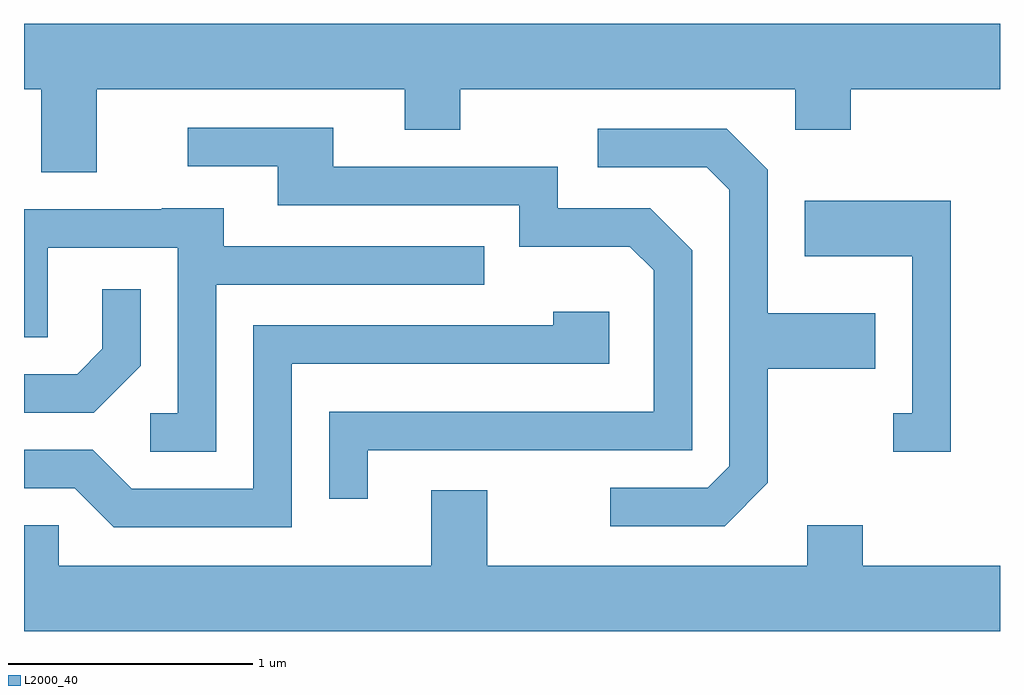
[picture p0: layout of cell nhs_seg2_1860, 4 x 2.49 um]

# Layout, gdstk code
import gdstk
lib = gdstk.Library(unit=1e-6, precision=1e-09)
def P(c, l, *ps):  # polygons
    for p in ps: c.add(gdstk.Polygon(p, *l))
L2000_40 = (2000, 40)

nhs_seg2_1860 = lib.new_cell('nhs_seg2_1860')
P(nhs_seg2_1860, L2000_40, [(239.909,1028.336),(241.171,1028.336),(241.171,1028.171),(241.399,1028.171),(241.399,1028.336),(242.771,1028.336),(242.771,1028.171),(242.999,1028.171),(242.999,1028.336),(243.611,1028.336),(243.611,1028.604),(239.611,1028.604),(239.611,1028.336),(239.681,1028.336),(239.681,1027.996),(239.909,1027.996)],
  [(241.019,1026.856),(242.349,1026.856),(242.349,1027.677),(242.177,1027.849),(241.799,1027.849),(241.799,1028.019),(240.879,1028.019),(240.879,1028.179),(240.283,1028.179),(240.283,1028.021),(240.651,1028.021),(240.651,1027.861),(241.641,1027.861),(241.641,1027.691),(242.094,1027.691),(242.191,1027.594),(242.191,1027.014),(240.861,1027.014),(240.861,1026.658),(241.019,1026.658)],
  [(242.659,1026.724),(242.659,1027.191),(243.099,1027.191),(243.099,1027.419),(242.659,1027.419),(242.659,1028.007),(242.492,1028.174),(241.963,1028.174),(241.963,1028.016),(242.409,1028.016),(242.501,1027.924),(242.501,1026.792),(242.414,1026.704),(242.013,1026.704),(242.013,1026.546),(242.482,1026.546)],
  [(243.409,1027.879),(242.811,1027.879),(242.811,1027.651),(243.251,1027.651),(243.251,1027.009),(243.173,1027.009),(243.173,1026.851),(243.409,1026.851)],
  [(240.399,1027.536),(241.498,1027.536),(241.498,1027.694),(240.429,1027.694),(240.429,1027.849),(240.175,1027.849),(240.175,1027.844),(239.611,1027.844),(239.611,1027.321),(239.709,1027.321),(239.709,1027.686),(240.241,1027.686),(240.241,1027.009),(240.128,1027.009),(240.128,1026.851),(240.399,1026.851)],
  [(240.089,1027.204),(240.089,1027.517),(239.931,1027.517),(239.931,1027.272),(239.829,1027.169),(239.611,1027.169),(239.611,1027.011),(239.897,1027.011)],
  [(240.709,1027.211),(242.009,1027.211),(242.009,1027.424),(241.781,1027.424),(241.781,1027.369),(240.551,1027.369),(240.551,1026.699),(240.052,1026.699),(239.892,1026.859),(239.611,1026.859),(239.611,1026.701),(239.819,1026.701),(239.979,1026.541),(240.709,1026.541)],
  [(243.611,1026.384),(243.049,1026.384),(243.049,1026.549),(242.821,1026.549),(242.821,1026.384),(241.509,1026.384),(241.509,1026.694),(241.281,1026.694),(241.281,1026.384),(239.754,1026.384),(239.754,1026.549),(239.611,1026.549),(239.611,1026.116),(243.611,1026.116)])

lib.write_gds('nhs_seg2_1860.gds')
